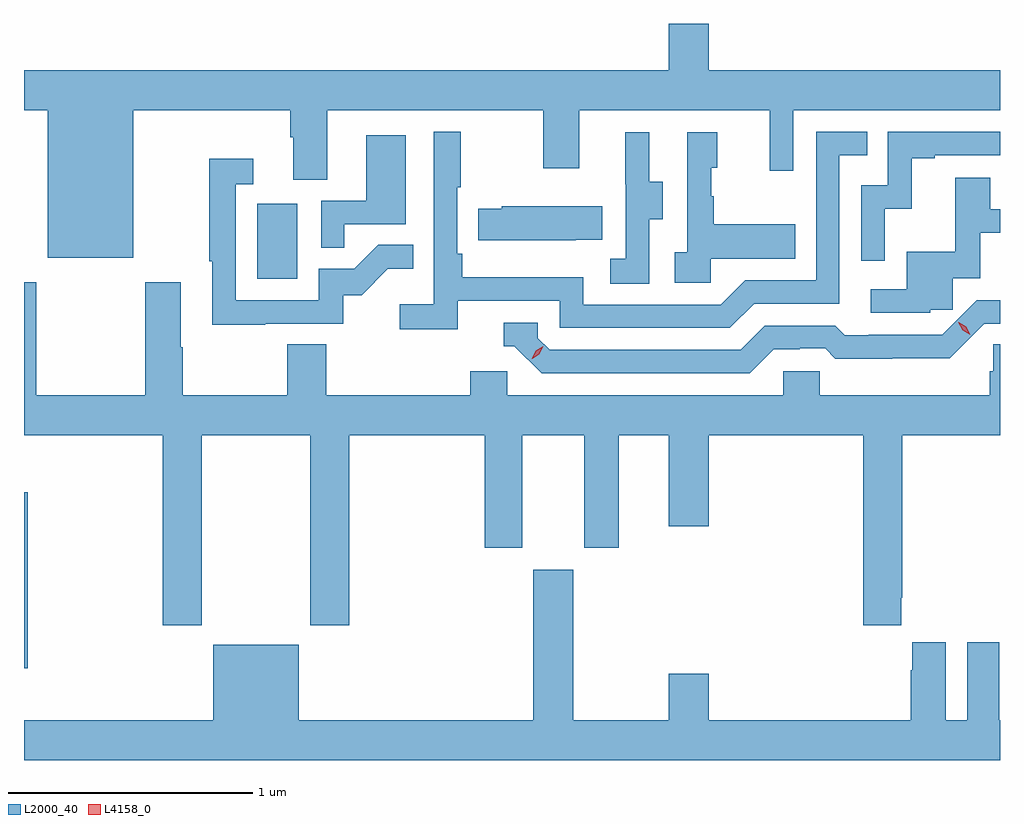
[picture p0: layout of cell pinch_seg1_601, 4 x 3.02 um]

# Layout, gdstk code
import gdstk
lib = gdstk.Library(unit=1e-6, precision=1e-09)
def R(c, l, rs):  # rectangles x0, y0, x1, y1
    for r in rs: c.add(gdstk.rectangle(r[:2], r[2:], *l))
def P(c, l, *ps):  # polygons
    for p in ps: c.add(gdstk.Polygon(p, *l))
L2000_40 = (2000, 40)
L4158_0 = (4158, 0)

pinch_seg1_601 = lib.new_cell('pinch_seg1_601')
R(pinch_seg1_601, L2000_40, [(1133.394,508.152,1133.41,508.873), (1134.35,509.748,1134.514,510.055)])
P(pinch_seg1_601, L2000_40, [(1133.842,510.44),(1134.485,510.44),(1134.485,510.328),(1134.497,510.328),(1134.497,510.154),(1134.637,510.154),(1134.637,510.44),(1135.522,510.44),(1135.522,510.201),(1135.669,510.201),(1135.669,510.44),(1136.45,510.44),(1136.45,510.192),(1136.547,510.192),(1136.547,510.44),(1137.394,510.44),(1137.394,510.604),(1136.2,510.604),(1136.2,510.793),(1136.036,510.793),(1136.036,510.604),(1133.394,510.604),(1133.394,510.44),(1133.492,510.44),(1133.492,509.834),(1133.842,509.834)],
  [(1135.172,509.658),(1135.59,509.658),(1135.59,509.547),(1136.287,509.547),(1136.386,509.646),(1136.736,509.646),(1136.736,510.255),(1136.849,510.255),(1136.849,510.351),(1136.64,510.351),(1136.64,509.742),(1136.349,509.742),(1136.25,509.643),(1135.686,509.643),(1135.686,509.755),(1135.19,509.755),(1135.19,509.851),(1135.17,509.851),(1135.17,510.124),(1135.183,510.124),(1135.183,510.352),(1135.074,510.352),(1135.074,509.644),(1134.933,509.644),(1134.933,509.542),(1135.172,509.542)],
  [(1136.922,510.035),(1137.032,510.035),(1137.032,510.243),(1137.127,510.243),(1137.127,510.255),(1137.394,510.255),(1137.394,510.351),(1136.934,510.351),(1136.934,510.132),(1136.826,510.132),(1136.826,509.823),(1136.922,509.823)],
  [(1136.208,509.831),(1136.555,509.831),(1136.555,509.971),(1136.221,509.971),(1136.221,510.086),(1136.211,510.086),(1136.211,510.204),(1136.236,510.204),(1136.236,510.349),(1136.112,510.349),(1136.112,509.858),(1136.061,509.858),(1136.061,509.733),(1136.208,509.733)],
  [(1135.956,509.992),(1136.011,509.992),(1136.011,510.147),(1135.957,510.147),(1135.957,510.349),(1135.859,510.349),(1135.859,510.135),(1135.86,510.135),(1135.86,509.831),(1135.797,509.831),(1135.797,509.728),(1135.956,509.728)],
  [(1134.707,509.973),(1134.958,509.973),(1134.958,510.337),(1134.797,510.337),(1134.797,510.069),(1134.612,510.069),(1134.612,509.875),(1134.707,509.875)],
  [(1134.383,509.565),(1134.702,509.565),(1134.702,509.682),(1134.778,509.682),(1134.885,509.789),(1134.989,509.789),(1134.989,509.888),(1134.846,509.888),(1134.748,509.79),(1134.603,509.79),(1134.603,509.661),(1134.261,509.661),(1134.261,510.135),(1134.334,510.135),(1134.334,510.241),(1134.153,510.241),(1134.153,509.821),(1134.165,509.821),(1134.165,509.56),(1134.383,509.56)],
  [(1137.108,509.621),(1137.201,509.621),(1137.201,509.751),(1137.313,509.751),(1137.313,509.937),(1137.394,509.937),(1137.394,510.033),(1137.355,510.033),(1137.355,510.163),(1137.211,510.163),(1137.211,509.86),(1137.011,509.86),(1137.011,509.706),(1136.865,509.706),(1136.865,509.61),(1137.108,509.61)],
  [(1135.655,509.909),(1135.763,509.909),(1135.763,510.046),(1135.353,510.046),(1135.353,510.036),(1135.255,510.036),(1135.255,509.906),(1135.655,509.906)],
  [(1134.123,509.108),(1134.568,509.108),(1134.568,508.329),(1134.728,508.329),(1134.728,509.108),(1135.283,509.108),(1135.283,508.647),(1135.435,508.647),(1135.435,509.108),(1135.691,509.108),(1135.691,508.647),(1135.831,508.647),(1135.831,509.108),(1136.036,509.108),(1136.036,508.734),(1136.2,508.734),(1136.2,509.108),(1136.834,509.108),(1136.834,508.329),(1136.989,508.329),(1136.989,508.441),(1136.994,508.441),(1136.994,509.108),(1137.394,509.108),(1137.394,509.48),(1137.367,509.48),(1137.367,509.37),(1137.353,509.37),(1137.353,509.272),(1136.655,509.272),(1136.655,509.37),(1136.505,509.37),(1136.505,509.272),(1135.374,509.272),(1135.374,509.37),(1135.223,509.37),(1135.223,509.272),(1134.632,509.272),(1134.632,509.48),(1134.472,509.48),(1134.472,509.272),(1134.045,509.272),(1134.045,509.468),(1134.037,509.468),(1134.037,509.734),(1133.89,509.734),(1133.89,509.272),(1133.445,509.272),(1133.445,509.734),(1133.394,509.734),(1133.394,509.108),(1133.963,509.108),(1133.963,508.329),(1134.123,508.329)],
  [(1136.467,509.46),(1136.574,509.46),(1136.574,509.463),(1136.677,509.463),(1136.719,509.421),(1136.952,509.421),(1136.952,509.423),(1137.188,509.423),(1137.33,509.565),(1137.394,509.565),(1137.394,509.661),(1137.299,509.661),(1137.158,509.52),(1136.857,509.52),(1136.857,509.517),(1136.758,509.517),(1136.719,509.556),(1136.43,509.556),(1136.331,509.457),(1135.548,509.457),(1135.5,509.505),(1135.5,509.568),(1135.361,509.568),(1135.361,509.472),(1135.404,509.472),(1135.515,509.361),(1136.368,509.361)],
  [(1137.394,507.94),(1137.391,507.94),(1137.391,508.258),(1137.26,508.258),(1137.26,507.94),(1137.172,507.94),(1137.172,508.258),(1137.035,508.258),(1137.035,508.145),(1137.029,508.145),(1137.029,507.94),(1136.2,507.94),(1136.2,508.129),(1136.036,508.129),(1136.036,507.94),(1135.645,507.94),(1135.645,508.555),(1135.481,508.555),(1135.481,507.94),(1134.52,507.94),(1134.52,508.249),(1134.17,508.249),(1134.17,507.94),(1133.394,507.94),(1133.394,507.776),(1137.394,507.776)])
P(pinch_seg1_601, L4158_0, [(1135.475,509.42),(1135.475,509.42),(1135.491,509.453),(1135.522,509.472),(1135.522,509.472),(1135.522,509.472),(1135.506,509.44),(1135.476,509.42)],
  [(1137.272,509.519),(1137.241,509.538),(1137.223,509.571),(1137.223,509.571),(1137.224,509.571),(1137.255,509.552),(1137.273,509.52),(1137.273,509.519)])

lib.write_gds('pinch_seg1_601.gds')
